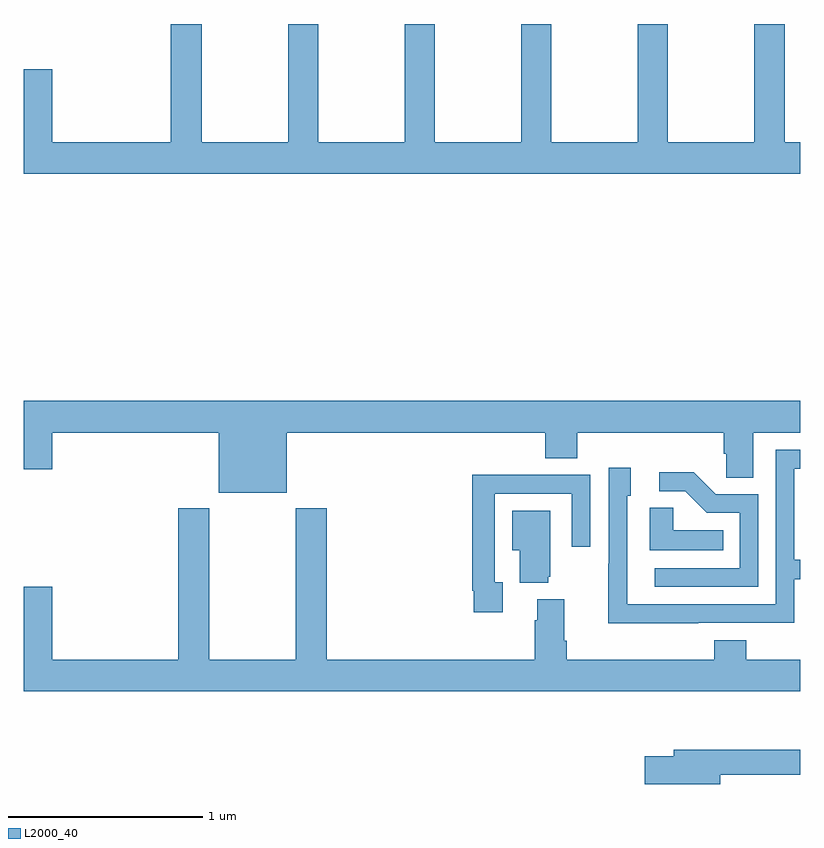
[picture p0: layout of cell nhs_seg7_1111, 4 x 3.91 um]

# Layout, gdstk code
import gdstk
lib = gdstk.Library(unit=1e-6, precision=1e-09)
def P(c, l, *ps):  # polygons
    for p in ps: c.add(gdstk.Polygon(p, *l))
L2000_40 = (2000, 40)

nhs_seg7_1111 = lib.new_cell('nhs_seg7_1111')
P(nhs_seg7_1111, L2000_40, [(193,1055.392),(192.918,1055.392),(192.918,1056),(192.763,1056),(192.763,1055.392),(192.318,1055.392),(192.318,1056),(192.163,1056),(192.163,1055.392),(191.718,1055.392),(191.718,1056),(191.563,1056),(191.563,1055.392),(191.118,1055.392),(191.118,1056),(190.963,1056),(190.963,1055.392),(190.518,1055.392),(190.518,1056),(190.363,1056),(190.363,1055.392),(189.918,1055.392),(189.918,1056),(189.758,1056),(189.758,1055.392),(189.148,1055.392),(189.148,1055.767),(189,1055.767),(189,1055.228),(193,1055.228)],
  [(190.354,1053.896),(191.687,1053.896),(191.687,1053.763),(191.852,1053.763),(191.852,1053.896),(192.605,1053.896),(192.605,1053.787),(192.618,1053.787),(192.618,1053.664),(192.757,1053.664),(192.757,1053.896),(193,1053.896),(193,1054.06),(189,1054.06),(189,1053.708),(189.148,1053.708),(189.148,1053.896),(190.004,1053.896),(190.004,1053.587),(190.354,1053.587)],
  [(192.473,1052.916),(192.969,1052.916),(192.969,1053.141),(193,1053.141),(193,1053.242),(192.969,1053.242),(192.969,1053.711),(193,1053.711),(193,1053.807),(192.873,1053.807),(192.873,1053.012),(192.108,1053.012),(192.108,1053.57),(192.127,1053.57),(192.127,1053.715),(192.012,1053.715),(192.012,1053.221),(192.01,1053.221),(192.01,1052.915),(192.473,1052.915)],
  [(192.783,1053.579),(192.564,1053.579),(192.451,1053.692),(192.273,1053.692),(192.273,1053.594),(192.407,1053.594),(192.518,1053.483),(192.687,1053.483),(192.687,1053.198),(192.249,1053.198),(192.249,1053.102),(192.783,1053.102)],
  [(191.467,1053.126),(191.427,1053.126),(191.427,1053.582),(191.823,1053.582),(191.823,1053.309),(191.919,1053.309),(191.919,1053.678),(191.603,1053.678),(191.603,1053.68),(191.311,1053.68),(191.311,1053.082),(191.319,1053.082),(191.319,1052.97),(191.467,1052.97)],
  [(192.602,1053.394),(192.345,1053.394),(192.345,1053.509),(192.224,1053.509),(192.224,1053.29),(192.602,1053.29)],
  [(193,1052.728),(192.722,1052.728),(192.722,1052.827),(192.557,1052.827),(192.557,1052.728),(191.798,1052.728),(191.798,1052.824),(191.785,1052.824),(191.785,1053.037),(191.645,1053.037),(191.645,1052.93),(191.633,1052.93),(191.633,1052.728),(190.562,1052.728),(190.562,1053.508),(190.402,1053.508),(190.402,1052.728),(189.957,1052.728),(189.957,1053.508),(189.797,1053.508),(189.797,1052.728),(189.148,1052.728),(189.148,1053.103),(189,1053.103),(189,1052.564),(193,1052.564)],
  [(191.702,1053.153),(191.713,1053.153),(191.713,1053.493),(191.516,1053.493),(191.516,1053.29),(191.555,1053.29),(191.555,1053.122),(191.702,1053.122)],
  [(192.586,1052.134),(193,1052.134),(193,1052.263),(192.347,1052.263),(192.347,1052.229),(192.198,1052.229),(192.198,1052.087),(192.586,1052.087)])

lib.write_gds('nhs_seg7_1111.gds')
